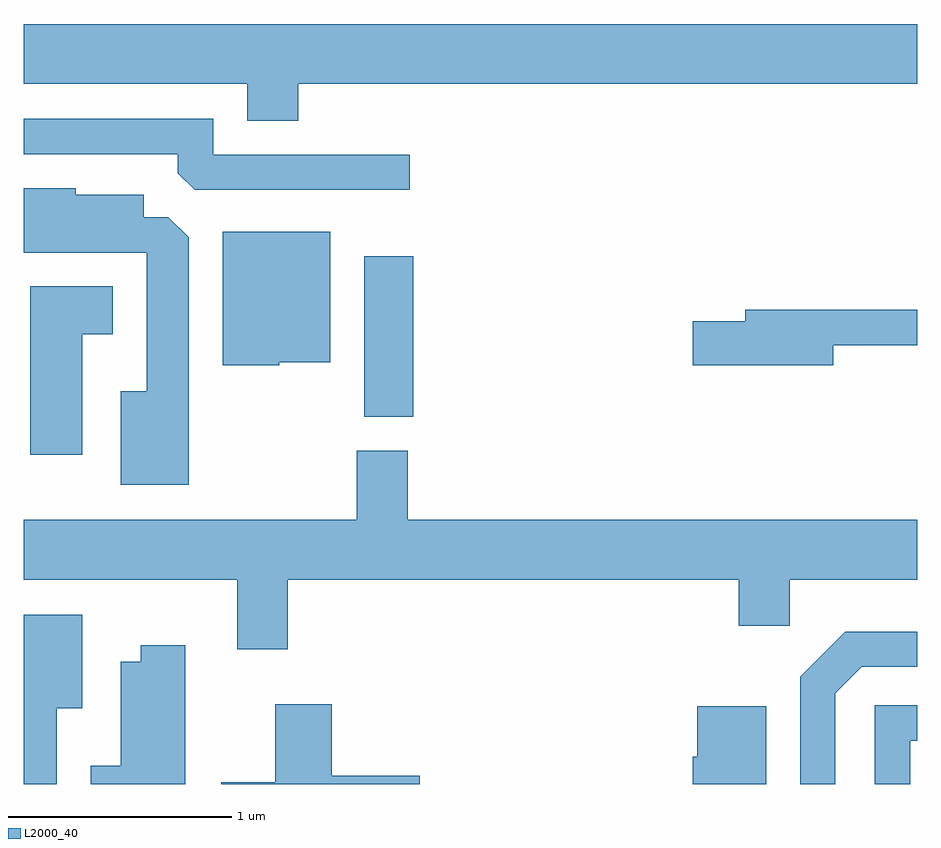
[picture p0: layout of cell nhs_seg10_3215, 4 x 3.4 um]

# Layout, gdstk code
import gdstk
lib = gdstk.Library(unit=1e-6, precision=1e-09)
def R(c, l, rs):  # rectangles x0, y0, x1, y1
    for r in rs: c.add(gdstk.rectangle(r[:2], r[2:], *l))
def P(c, l, *ps):  # polygons
    for p in ps: c.add(gdstk.Polygon(p, *l))
L2000_40 = (2000, 40)

nhs_seg10_3215 = lib.new_cell('nhs_seg10_3215')
R(nhs_seg10_3215, L2000_40, [(281.136,2150.166,281.354,2150.884)])
P(nhs_seg10_3215, L2000_40, [(280.839,2151.656),(283.611,2151.656),(283.611,2151.924),(279.611,2151.924),(279.611,2151.656),(280.611,2151.656),(280.611,2151.491),(280.839,2151.491)],
  [(281.338,2151.339),(280.459,2151.339),(280.459,2151.499),(279.611,2151.499),(279.611,2151.341),(280.301,2151.341),(280.301,2151.257),(280.377,2151.181),(281.338,2151.181)],
  [(280.349,2150.969),(280.259,2151.059),(280.149,2151.059),(280.149,2151.159),(279.844,2151.159),(279.844,2151.189),(279.611,2151.189),(279.611,2150.901),(280.161,2150.901),(280.161,2150.279),(280.046,2150.279),(280.046,2149.861),(280.349,2149.861)],
  [(280.755,2150.411),(280.984,2150.411),(280.984,2150.994),(280.501,2150.994),(280.501,2150.396),(280.755,2150.396)],
  [(279.874,2150.536),(280.009,2150.536),(280.009,2150.749),(279.641,2150.749),(279.641,2149.996),(279.874,2149.996)],
  [(283.234,2150.486),(283.611,2150.486),(283.611,2150.644),(282.841,2150.644),(282.841,2150.594),(282.606,2150.594),(282.606,2150.396),(283.234,2150.396)],
  [(280.794,2149.436),(282.811,2149.436),(282.811,2149.231),(283.039,2149.231),(283.039,2149.436),(283.611,2149.436),(283.611,2149.704),(281.329,2149.704),(281.329,2150.014),(281.101,2150.014),(281.101,2149.704),(279.611,2149.704),(279.611,2149.436),(280.566,2149.436),(280.566,2149.126),(280.794,2149.126)],
  [(279.759,2148.861),(279.874,2148.861),(279.874,2149.279),(279.611,2149.279),(279.611,2148.522),(279.759,2148.522)],
  [(283.244,2148.929),(283.362,2149.046),(283.611,2149.046),(283.611,2149.204),(283.289,2149.204),(283.086,2149.002),(283.086,2148.522),(283.244,2148.522)],
  [(280.334,2149.144),(280.136,2149.144),(280.136,2149.069),(280.046,2149.069),(280.046,2148.604),(279.911,2148.604),(279.911,2148.522),(280.334,2148.522)],
  [(281.384,2148.559),(280.989,2148.559),(280.989,2148.879),(280.736,2148.879),(280.736,2148.529),(280.496,2148.529),(280.496,2148.522),(281.384,2148.522)],
  [(283.579,2148.716),(283.611,2148.716),(283.611,2148.874),(283.421,2148.874),(283.421,2148.522),(283.579,2148.522)],
  [(282.934,2148.869),(282.626,2148.869),(282.626,2148.644),(282.606,2148.644),(282.606,2148.522),(282.934,2148.522)])

lib.write_gds('nhs_seg10_3215.gds')
